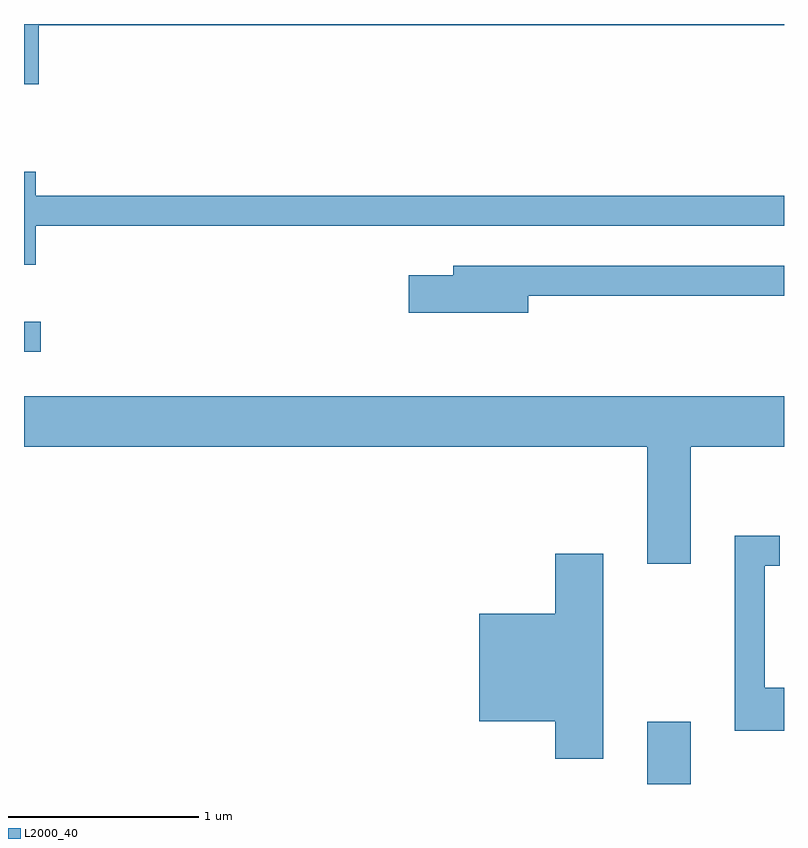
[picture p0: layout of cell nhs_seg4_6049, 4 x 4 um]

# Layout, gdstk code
import gdstk
lib = gdstk.Library(unit=1e-6, precision=1e-09)
def R(c, l, rs):  # rectangles x0, y0, x1, y1
    for r in rs: c.add(gdstk.rectangle(r[:2], r[2:], *l))
def P(c, l, *ps):  # polygons
    for p in ps: c.add(gdstk.Polygon(p, *l))
L2000_40 = (2000, 40)

nhs_seg4_6049 = lib.new_cell('nhs_seg4_6049')
R(nhs_seg4_6049, L2000_40, [(364.891,1383.982,365.119,1384.309), (361.611,1386.256,361.698,1386.414)])
P(nhs_seg4_6049, L2000_40, [(361.689,1387.976),(365.611,1387.976),(365.611,1387.982),(361.611,1387.982),(361.611,1387.666),(361.689,1387.666)],
  [(361.674,1386.921),(365.611,1386.921),(365.611,1387.079),(361.674,1387.079),(361.674,1387.204),(361.611,1387.204),(361.611,1386.716),(361.674,1386.716)],
  [(364.264,1386.551),(365.611,1386.551),(365.611,1386.709),(363.871,1386.709),(363.871,1386.659),(363.636,1386.659),(363.636,1386.461),(364.264,1386.461)],
  [(365.119,1385.756),(365.611,1385.756),(365.611,1386.024),(361.611,1386.024),(361.611,1385.756),(364.891,1385.756),(364.891,1385.141),(365.119,1385.141)],
  [(365.611,1384.489),(365.509,1384.489),(365.509,1385.131),(365.588,1385.131),(365.588,1385.289),(365.351,1385.289),(365.351,1384.261),(365.611,1384.261)],
  [(364.659,1385.194),(364.406,1385.194),(364.406,1384.879),(364.006,1384.879),(364.006,1384.311),(364.406,1384.311),(364.406,1384.116),(364.659,1384.116)])

lib.write_gds('nhs_seg4_6049.gds')
